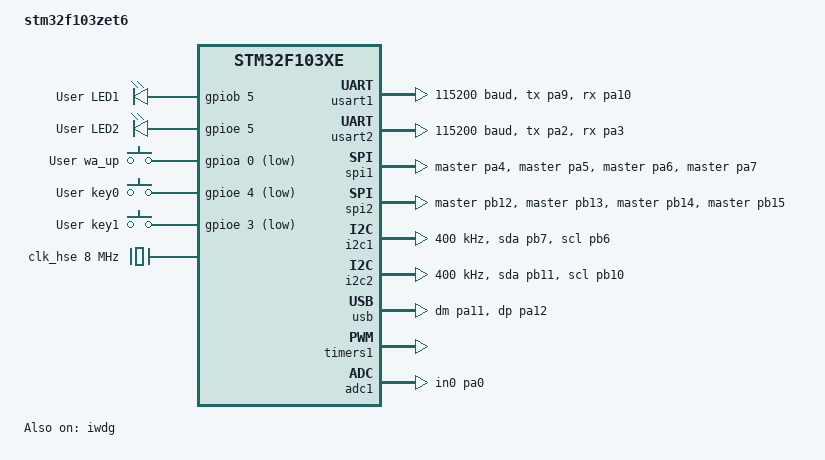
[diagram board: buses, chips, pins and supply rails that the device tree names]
/*
 * Copyright (c) 2020 Stefano Manni
 *
 * SPDX-License-Identifier: Apache-2.0
 */

/dts-v1/;
#include <st/f1/stm32f103Xe.dtsi>
#include <st/f1/stm32f103z(c-d-e)tx-pinctrl.dtsi>

/ {
	model = "stm32f103zet6";
	compatible = "st,f103zet6";

	chosen {
		zephyr,console = &usart1;
		zephyr,shell-uart = &usart1;
		zephyr,sram = &sram0;
		zephyr,flash = &flash0;
	};

	leds {
		compatible = "gpio-leds";
		led_1: led_1 {
			gpios = <&gpiob 5 GPIO_ACTIVE_HIGH>;//高电平触发
			label = "User LED1";
		};
		led_2: led_2 {
			gpios = <&gpioe 5 GPIO_ACTIVE_HIGH>;//高电平触发
			label = "User LED2";
		};
	};

	gpio_keys {
		compatible = "gpio-keys";
		wa_up: wa_up {
			label = "User wa_up";
			gpios = <&gpioa 0 (GPIO_PULL_UP | GPIO_ACTIVE_LOW)>;
		};
		key0: key0 {
			label = "User key0";
			gpios = <&gpioe 4 (GPIO_PULL_UP | GPIO_ACTIVE_LOW)>;
		};
		key1: key1 {
			label = "User key1";
			gpios = <&gpioe 3 (GPIO_PULL_UP | GPIO_ACTIVE_LOW)>;
		};
	};

	aliases {
		led0 = &led_1;
		led1 = &led_2;;
		sw0 = &key0;
		watchdog0 = &iwdg;
	};
};

&clk_hse {
	clock-frequency = <DT_FREQ_M(8)>;//配置外部高速时钟源为8M
	status = "okay";
};

&pll {//配置PLL 9倍倍频时钟源为clk_hse
	mul = <9>;
	clocks = <&clk_hse>;
	status = "okay";
};

&rcc {
	clocks = <&pll>;//RCC时钟源为PLL
	clock-frequency = <DT_FREQ_M(72)>;//时钟频率为72M
	ahb-prescaler = <1>;//分频系数
	apb1-prescaler = <2>;
	apb2-prescaler = <1>;
	/* usbpre not set: USB clock = 72 / 1.5: 48MHz */
};
//这些引脚在头文件中包涵
&usart1 {
	pinctrl-0 = <&usart1_tx_pa9 &usart1_rx_pa10>;
	pinctrl-names = "default";
	current-speed = <115200>;
	status = "okay";
};

&usart2 {
	pinctrl-0 = <&usart2_tx_pa2 &usart2_rx_pa3>;
	pinctrl-names = "default";
	current-speed = <115200>;
	status = "okay";
};

&spi1 {
	pinctrl-0 = <&spi1_nss_master_pa4 &spi1_sck_master_pa5
		     &spi1_miso_master_pa6 &spi1_mosi_master_pa7>;
	pinctrl-names = "default";
	status = "okay";
};

&spi2 {
	pinctrl-0 = <&spi2_nss_master_pb12 &spi2_sck_master_pb13
		     &spi2_miso_master_pb14 &spi2_mosi_master_pb15>;
	pinctrl-names = "default";
	status = "okay";
};

&i2c1 {
	pinctrl-0 = <&i2c1_sda_pb7 &i2c1_scl_pb6>;
	pinctrl-names = "default";
	status = "okay";
	clock-frequency = <I2C_BITRATE_FAST>;
};

&i2c2 {
	pinctrl-0 = <&i2c2_sda_pb11 &i2c2_scl_pb10>;
	pinctrl-names = "default";
	status = "okay";
	clock-frequency = <I2C_BITRATE_FAST>;
};

&can1 {
	pinctrl-0 = <&can_rx_remap1_pb8 &can_tx_remap1_pb9>;
	pinctrl-names = "default";
	/*
	 * make sure CAN and USB are not enabled at the same time
	 * because they share interrupts 19, 20 (stm32f103Xb.dtsi)
	 * reference: RM0008 rev20 page 205
	 */
	status = "disabled";
	bus-speed = <125000>;
};

zephyr_udc0: &usb {
	/*
	 * make sure CAN and USB are not enabled at the same time
	 * because they share interrupts 19, 20 (stm32f103Xb.dtsi)
	 * reference: RM0008 rev20 page 205
	 */
	pinctrl-0 = <&usb_dm_pa11 &usb_dp_pa12>;
	pinctrl-names = "default";
	status = "okay";
	disconnect-gpios = <&gpiog 15 GPIO_ACTIVE_HIGH>;
};

&timers1 {
	status = "okay";

	pwm1: pwm {
		status = "okay";
		pinctrl-0 = <&tim1_ch1_pwm_out_pa8>;
		pinctrl-names = "default";
	};
};

&iwdg {
	status = "okay";
};

&adc1 {
	pinctrl-0 = <&adc1_in0_pa0>;
	pinctrl-names = "default";
	status = "okay";
};
